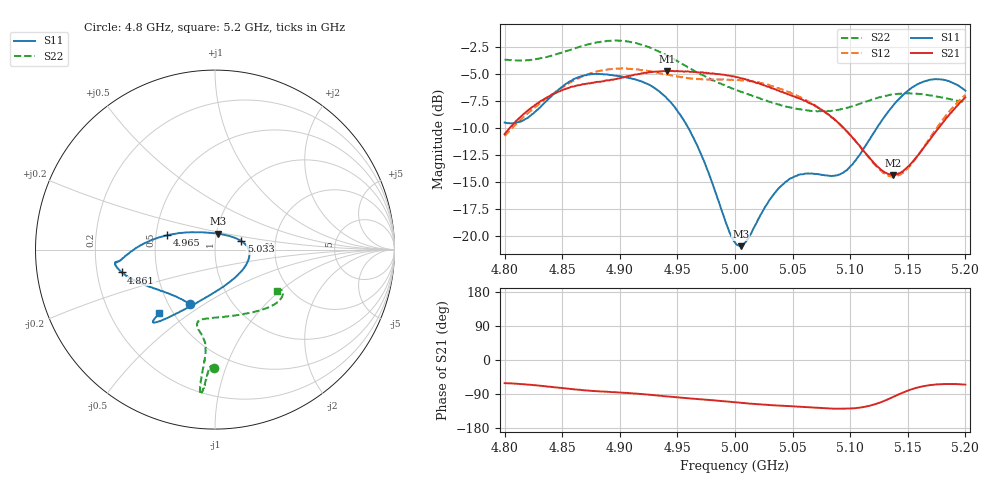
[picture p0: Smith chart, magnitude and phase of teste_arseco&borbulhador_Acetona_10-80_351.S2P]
! Network Analyzer HP8722D
! Hewlett-Packard
! Data name: Linha & Wilkinson
! Saver's name: Rodrigo Anjos
! Comments: Teste da utilização de aquisição
! continua pelo VNA HP8722D
! Time and date: 17/4/2025 17:17
!  Frequency  S11  S21  S12  S22
# HZ  S  MA R 50
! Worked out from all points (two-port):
!   401 points, 4.8 GHz to 5.2 GHz, reference 50 ohm
!   highest |S21| = -4.71 dB at 4.941 GHz (marker M1); lowest = -14.3 dB at 5.137 GHz (marker M2)
!   |S21| within 3 dB of the highest: 4.828 GHz to 5.065 GHz (236.4 MHz wide, 4.78 % of centre); 5.194726 GHz to end of sweep
!   lowest |S11| = -20.9 dB at 5.005 GHz (marker M3), VSWR 1.20, Z = 50.9 + j9.06 ohm
!   |S11| at or under -10 dB: 4.959 GHz to 5.123 GHz (163.5 MHz wide, 3.24 % of centre)
!   |S22| runs from -8.5 to -1.9 dB; largest |S21 - S12| = 0.87
!   S11 on the Smith chart (normalised r, x): 4.8 GHz: 0.64, -0.44; 4.861 GHz: 0.31, -0.11; 4.965 GHz: 0.57, +0.10; 5.033 GHz: 1.34, +0.13; 5.2 GHz: 0.42, -0.38
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4.8e9  0.3353 -114.5  0.2962 -61.1  0.2903 -175.2  0.6569 -90.4
4.819e9  0.3503 -134.3  0.3767 -64.7  0.3654 -174.2  0.6516 -91.9
4.861e9  0.5353 -166.2  0.4942 -77.8  0.5265 -177.5  0.7383 -94.1
4.867e9  0.5499 -168.7  0.5027 -79.4  0.5461 -178.6  0.7565 -94.5
4.899e9  0.5499 -173.0  0.5355 -85.9  0.595 174.9  0.8012 -95.7
4.934e9  0.4686 -178.6  0.5773 -94.0  0.5691 171.3  0.7129 -96.1
4.941e9  0.4324 178.3  0.5812 -96.0  0.5591 171.3  0.6849 -95.9
4.965e9  0.2775 163.4  0.575 -102.5  0.5338 173.2  0.5803 -95.2
5e9  0.0935 98.2  0.5456 -111.6  0.5292 175.8  0.4759 -99.3
5.005e9  0.08984 79.1  0.5371 -112.9  0.5249 175.7  0.4652 -100.4
5.012e9  0.09878 55.7  0.5255 -114.9  0.5212 175.6  0.4522 -101.8
5.033e9  0.1548 17.9  0.4817 -119.2  0.4931 174.2  0.4144 -103.3
5.049e9  0.1854 1.8  0.4471 -122.1  0.458 173.9  0.3925 -99.4
5.067e9  0.1948 -17.5  0.4074 -125.2  0.4108 173.4  0.3789 -90.0
5.096e9  0.2004 -68.2  0.3091 -128.6  0.3094 174.6  0.3911 -67.4
5.122e9  0.3096 -108.4  0.2144 -116.4  0.2121 -171.0  0.4335 -49.2
5.134e9  0.3823 -118.0  0.1935 -102.1  0.1896 -155.0  0.4496 -43.1
5.137e9  0.4001 -119.7  0.1918 -97.9  0.189 -150.2  0.4525 -41.7
5.15e9  0.4701 -125.4  0.2089 -81.0  0.2058 -130.6  0.4575 -36.9
5.17e9  0.5296 -129.8  0.2831 -65.9  0.289 -112.2  0.4473 -32.2
5.184e9  0.524 -131.0  0.3547 -63.3  0.3667 -107.7  0.4331 -31.3
5.2e9  0.4705 -131.2  0.4384 -64.9  0.4495 -107.1  0.4157 -33.7
